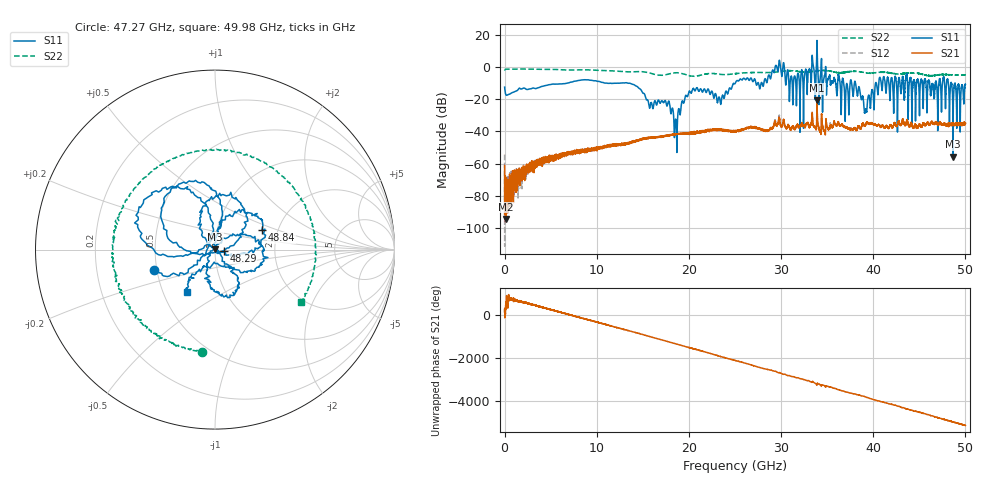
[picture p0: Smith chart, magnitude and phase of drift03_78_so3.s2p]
!Created with skrf (http://scikit-rf.org).
# Hz S RI R 50.0
!freq ReS11 ImS11 ReS21 ImS21 ReS12 ImS12 ReS22 ImS22
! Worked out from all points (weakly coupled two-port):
!   10001 points, 300 kHz to 50 GHz, reference 50 ohm
!   highest |S21| = -20.71 dB at 33.9 GHz (marker M1); lowest = -94.3 dB at 145.3 MHz (marker M2)
!   lowest |S11| = -55.7 dB at 48.66 GHz (marker M3), VSWR 1.00, Z = 50.1 + j0.146 ohm
!   |S11| at or under -10 dB: start of sweep to 6.943 GHz; 13.32 GHz to 25.04 GHz (11.73 GHz wide, 61.1 % of centre); 38.07 GHz to 40.26 GHz (2.184 GHz wide, 5.58 % of centre) (the widest 3 of 55)
!   |S22| runs from -5.9 to -1.3 dB; largest |S21 - S12| = 0.0076
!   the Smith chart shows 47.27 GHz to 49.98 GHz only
!   S11 on the Smith chart (normalised r, x): 47.27 GHz: 0.48, -0.13; 48.29 GHz: 1.10, -0.01; 48.84 GHz: 1.65, +0.39; 49.98 GHz: 0.66, -0.34
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300000  -0.2102 -0.1027  -0.000435 0.000747  -0.000886 0.00169  -0.7674 -0.1929
1.452991e8  -0.1209 0.0605  -3.83e-06 1.89e-05  -8.88e-05 -2.1e-05  -0.812 0.2325
1.535291e9  0.2048 0.0435  -0.000139 -0.000481  -7.88e-05 -0.000322  0.8488 0.0781
3.160281e9  -0.2186 -0.00861  9.23e-06 0.000904  8.72e-06 0.000858  -0.8441 -0.0254
4.665272e9  0.2636 0.0614  -2.68e-05 -0.00143  -0.000275 -0.00144  0.8187 0.1429
6.360262e9  -0.2999 0.000351  0.000635 0.00179  0.000498 0.00185  -0.8045 -0.0442
8.33525e9  0.2836 -0.2672  -0.00225 -0.00108  -0.00216 -0.00106  0.6032 -0.5351
9.590242e9  -0.3718 -0.0372  0.00146 0.00247  0.00153 0.00245  -0.7879 -0.0748
1.123523e10  0.3054 0.0303  -0.00225 -0.00266  -0.00215 -0.00282  0.7569 0.0363
1.66702e10  0.0537 0.0754  0.00467 -0.00481  0.00462 -0.00487  -0.3633 0.4163
2.500015e10  -0.2969 -0.0485  0.00794 0.00654  0.00813 0.00668  -0.1803 -0.583
3.052012e10  0.2303 -0.1456  -0.00162 0.0127  -0.00188 0.0126  0.7442 -0.0678
3.213011e10  0.1992 0.3725  7.61e-05 -0.0149  -0.000529 -0.0156  -0.698 0.00175
3.33351e10  0.4956 -0.9834  -0.00697 0.0248  -0.00665 0.0247  0.6133 0.3707
3.38951e10  -0.7596 -6.503  0.0916 0.0108  0.0867 0.00544  0.6842 -0.3182
4.167005e10  -0.2271 0.2832  -0.0121 -0.0043  -0.012 -0.00495  -0.6524 -0.0575
4.727002e10  -0.3415 -0.1141  -0.00769 -0.0164  -0.00827 -0.0158  -0.0711 -0.5687
4.828501e10  0.0487 -0.00554  -0.00856 0.0138  -0.00876 0.0136  -0.5215 0.2193
4.866001e10  0.000776 0.00145  0.00464 0.0153  0.00397 0.0164  -0.2612 0.4908
4.884001e10  0.2614 0.1096  0.0105 0.0139  0.00931 0.0138  -0.082 0.5515
4.998e10  -0.1544 -0.234  0.00237 -0.0168  0.00231 -0.0157  0.4813 -0.2917
5e10  -0.1451 -0.2519  0.00178 -0.0181  0.00274 -0.0167  0.4728 -0.3119
